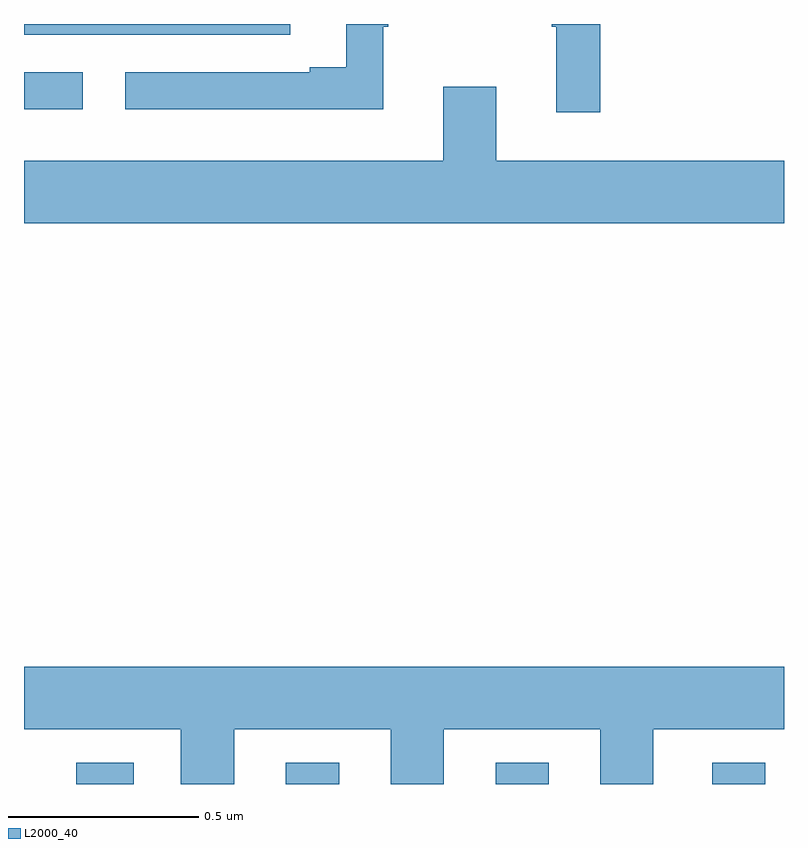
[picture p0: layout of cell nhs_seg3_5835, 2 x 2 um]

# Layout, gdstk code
import gdstk
lib = gdstk.Library(unit=1e-6, precision=1e-09)
def R(c, l, rs):  # rectangles x0, y0, x1, y1
    for r in rs: c.add(gdstk.rectangle(r[:2], r[2:], *l))
def P(c, l, *ps):  # polygons
    for p in ps: c.add(gdstk.Polygon(p, *l))
L2000_40 = (2000, 40)

nhs_seg3_5835 = lib.new_cell('nhs_seg3_5835')
R(nhs_seg3_5835, L2000_40, [(183.137,739.4,183.289,739.456), (183.689,739.4,183.829,739.456), (184.241,739.4,184.381,739.456), (184.811,739.4,184.951,739.456), (183,741.176,183.154,741.273), (183,741.372,183.7,741.4)])
P(nhs_seg3_5835, L2000_40, [(183.946,741.393),(183.958,741.393),(183.958,741.4),(183.848,741.4),(183.848,741.286),(183.752,741.286),(183.752,741.273),(183.267,741.273),(183.267,741.176),(183.946,741.176)],
  [(184.517,741.4),(184.389,741.4),(184.389,741.393),(184.4,741.393),(184.4,741.168),(184.517,741.168)],
  [(185,741.04),(184.243,741.04),(184.243,741.235),(184.103,741.235),(184.103,741.04),(183,741.04),(183,740.876),(185,740.876)],
  [(183.553,739.544),(183.965,739.544),(183.965,739.4),(184.105,739.4),(184.105,739.544),(184.517,739.544),(184.517,739.4),(184.656,739.4),(184.656,739.544),(185,739.544),(185,739.708),(183,739.708),(183,739.544),(183.413,739.544),(183.413,739.4),(183.553,739.4)])

lib.write_gds('nhs_seg3_5835.gds')
